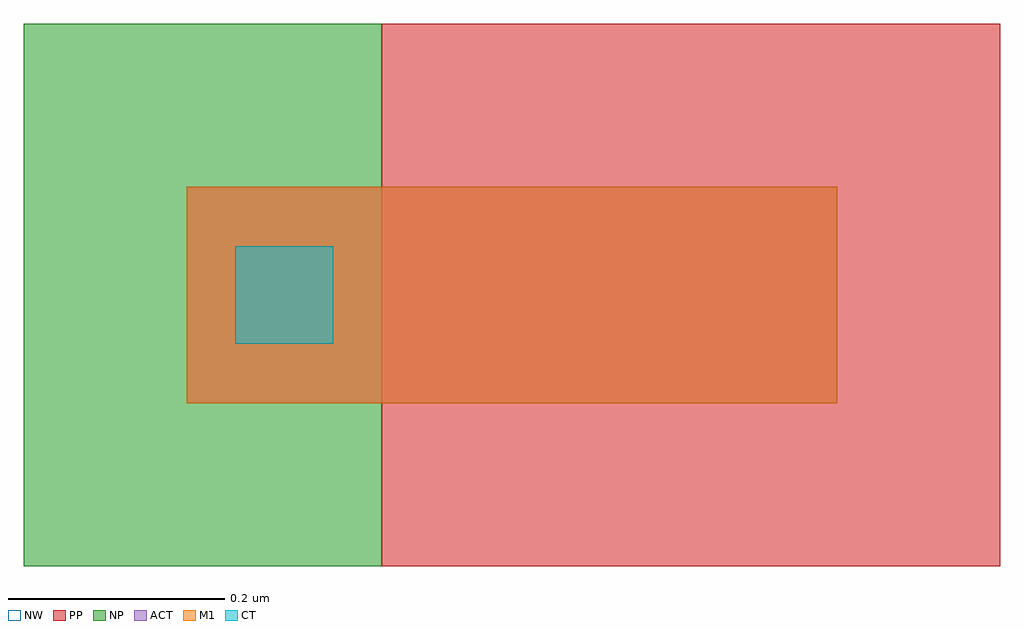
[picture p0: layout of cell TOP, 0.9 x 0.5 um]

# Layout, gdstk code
import gdstk
lib = gdstk.Library(unit=1e-6, precision=1e-09)
def R(c, l, rs):  # rectangles x0, y0, x1, y1
    for r in rs: c.add(gdstk.rectangle(r[:2], r[2:], *l))
ACT = (2, 1)
NW = (9, 1)
NP = (52, 1)
PP = (53, 1)
CT = (72, 1)
M1 = (81, 1)

top = lib.new_cell('TOP')
R(top, ACT, [(0,0,0.6,0.2)])
R(top, NW, [(-0.15,-0.15,0.75,0.35)])
R(top, NP, [(-0.15,-0.15,0.18,0.35)])
R(top, PP, [(0.18,-0.15,0.75,0.35)])
R(top, CT, [(0.045,0.055,0.135,0.145)])
R(top, M1, [(0,0,0.6,0.2)])

lib.write_gds('TOP.gds')
